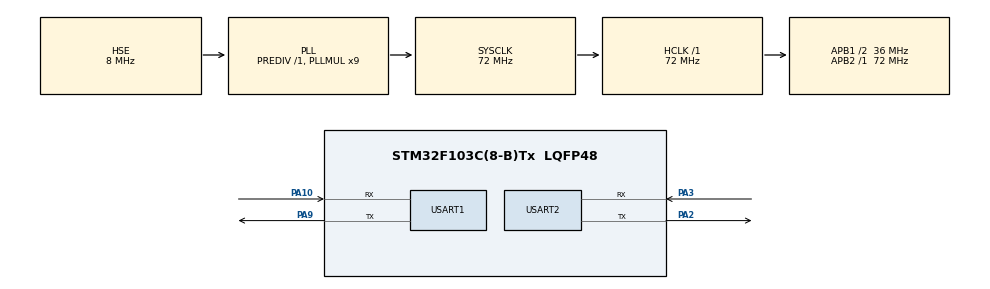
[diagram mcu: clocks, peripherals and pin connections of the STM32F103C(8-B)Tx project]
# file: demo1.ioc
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Mcu.Family=STM32F1
Mcu.Name=STM32F103C(8-B)Tx
Mcu.Package=LQFP48
NVIC.PriorityGroup=NVIC_PRIORITYGROUP_4
NVIC.USART1_IRQn=true\:0\:0\:false\:false\:true\:true\:true\:true
NVIC.USART2_IRQn=true\:0\:0\:false\:false\:true\:true\:true\:true
PA10.Mode=Asynchronous
PA10.Signal=USART1_RX
PA13.Mode=Serial_Wire
PA13.Signal=SYS_JTMS-SWDIO
PA14.Mode=Serial_Wire
PA14.Signal=SYS_JTCK-SWCLK
PA2.Mode=Asynchronous
PA2.Signal=USART2_TX
PA3.Mode=Asynchronous
PA3.Signal=USART2_RX
PA9.Mode=Asynchronous
PA9.Signal=USART1_TX
PD0-OSC_IN.Mode=HSE-External-Oscillator
PD0-OSC_IN.Signal=RCC_OSC_IN
PD1-OSC_OUT.Mode=HSE-External-Oscillator
PD1-OSC_OUT.Signal=RCC_OSC_OUT
ProjectManager.HeapSize=0x200
ProjectManager.StackSize=0x400
ProjectManager.TargetToolchain=MDK-ARM V5.32
RCC.AHBFreq_Value=72000000
RCC.APB1CLKDivider=RCC_HCLK_DIV2
RCC.APB1Freq_Value=36000000
RCC.APB1TimFreq_Value=72000000
RCC.APB2Freq_Value=72000000
RCC.APB2TimFreq_Value=72000000
RCC.HCLKFreq_Value=72000000
RCC.PLLMUL=RCC_PLL_MUL9
RCC.PLLSourceVirtual=RCC_PLLSOURCE_HSE
RCC.SYSCLKFreq_VALUE=72000000
RCC.SYSCLKSource=RCC_SYSCLKSOURCE_PLLCLK
RCC.USBFreq_Value=72000000
TIM4.Prescaler=720-1
USART1.VirtualMode=VM_ASYNC
USART2.VirtualMode=VM_ASYNC
VP_TIM4_VS_ClockSourceINT.Mode=Internal
board=custom

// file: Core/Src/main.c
/* USER CODE BEGIN Header */
/**
  ******************************************************************************
  * @file           : main.c
  * @brief          : Main program body
  ******************************************************************************
  * @attention
  *
  * Copyright (c) 2025 STMicroelectronics.
  * All rights reserved.
  *
  * This software is licensed under terms that can be found in the LICENSE file
  * in the root directory of this software component.
  * If no LICENSE file comes with this software, it is provided AS-IS.
  *
  ******************************************************************************
  */
/* USER CODE END Header */
#include "main.h"
#include "tim.h"
#include "usart.h"
#include "gpio.h"

/* USER CODE BEGIN Includes */
#include "oled.h"
#include "stdio.h"
#include "string.h"

/* USER CODE END Includes */

/* USER CODE BEGIN PD */
#define COUNT_MAX 40
#define ANGLE_MAX 180

 volatile uint8_t flag = 0;
  int count=0;

 int angle=0;
/* USER CODE END PD */

void SystemClock_Config(void);

int main(void)
{

  /* MCU Configuration--------------------------------------------------------*/

  /* Reset of all peripherals, Initializes the Flash interface and the Systick. */
  HAL_Init();

  /* Configure the system clock */
  SystemClock_Config();

  /* Initialize all configured peripherals */
  MX_GPIO_Init();
  MX_TIM4_Init();
  MX_USART2_UART_Init();
  MX_USART1_UART_Init();
  /* USER CODE BEGIN 2 */

  HAL_Delay(20);
  OLED_Init();
  char message[10]="";
  int duty=0;
  HAL_TIM_PWM_Start(&htim4,TIM_CHANNEL_3);
  /* USER CODE END 2 */

  /* Infinite loop */
  /* USER CODE BEGIN WHILE */
  while (1)
  {

  if(HAL_GPIO_ReadPin(GPIOB,GPIO_PIN_12)==GPIO_PIN_RESET)
  {
	  HAL_Delay(10);
	  if(HAL_GPIO_ReadPin(GPIOB,GPIO_PIN_12)==GPIO_PIN_RESET)
	  {
		  count+=1;
		  if(count>COUNT_MAX)
		  {count=0;}
		  while(HAL_GPIO_ReadPin(GPIOB,GPIO_PIN_12)==GPIO_PIN_RESET){};
	  }
  }

    if(HAL_GPIO_ReadPin(GPIOB,GPIO_PIN_13)==GPIO_PIN_RESET)
  {
	  HAL_Delay(10);
	  if(HAL_GPIO_ReadPin(GPIOB,GPIO_PIN_13)==GPIO_PIN_RESET)
	  {
		  count-=1;
		  if(count<0)
		  {count=COUNT_MAX;}
		  while(HAL_GPIO_ReadPin(GPIOB,GPIO_PIN_13)==GPIO_PIN_RESET){};
	  }
  }
   angle=180/(float)COUNT_MAX*count;
   duty=(10*count/(float)COUNT_MAX+2.5)/100.0*2000;
  __HAL_TIM_SET_COMPARE(&htim4,TIM_CHANNEL_3,duty);
    //__HAL_TIM_SET_COMPARE(&htim4,TIM_CHANNEL_3,150);

 OLED_NewFrame();

  sprintf(message,"angle:%d",angle);

  if(angle>120)
  {
	  OLED_PrintString(0,0,"左偏角过大",&font16x16,OLED_COLOR_NORMAL);
	  HAL_GPIO_WritePin(GPIOB,GPIO_PIN_3,GPIO_PIN_SET);
  }
  else if(angle<30)
  {
	  OLED_PrintString(0,0,"右偏角过大",&font16x16,OLED_COLOR_NORMAL);
	  HAL_GPIO_WritePin(GPIOB,GPIO_PIN_3,GPIO_PIN_SET);
  }
   else if(30<=angle&&angle<=120)
  {
	  OLED_PrintString(0,0,"姿态正常",&font16x16,OLED_COLOR_NORMAL);
	  HAL_GPIO_WritePin(GPIOB,GPIO_PIN_3,GPIO_PIN_RESET);
  }

  //OLED_PrintString(0,20,"右偏角过大",&font16x16,OLED_COLOR_NORMAL);
  //OLED_PrintString(0,40,"姿态正常",&font16x16,OLED_COLOR_NORMAL);
   OLED_PrintString(0,20,message,&font16x16,OLED_COLOR_NORMAL);
  OLED_ShowFrame();

    /* USER CODE END WHILE */

  }
}

void SystemClock_Config(void)
{
  RCC_OscInitTypeDef RCC_OscInitStruct = {0};
  RCC_ClkInitTypeDef RCC_ClkInitStruct = {0};

  /** Initializes the RCC Oscillators according to the specified parameters
  * in the RCC_OscInitTypeDef structure.
  */
  RCC_OscInitStruct.OscillatorType = RCC_OSCILLATORTYPE_HSE;
  RCC_OscInitStruct.HSEState = RCC_HSE_ON;
  RCC_OscInitStruct.HSEPredivValue = RCC_HSE_PREDIV_DIV1;
  RCC_OscInitStruct.HSIState = RCC_HSI_ON;
  RCC_OscInitStruct.PLL.PLLState = RCC_PLL_ON;
  RCC_OscInitStruct.PLL.PLLSource = RCC_PLLSOURCE_HSE;
  RCC_OscInitStruct.PLL.PLLMUL = RCC_PLL_MUL9;
  if (HAL_RCC_OscConfig(&RCC_OscInitStruct) != HAL_OK)
  {
    Error_Handler();
  }

  /** Initializes the CPU, AHB and APB buses clocks
  */
  RCC_ClkInitStruct.ClockType = RCC_CLOCKTYPE_HCLK|RCC_CLOCKTYPE_SYSCLK
                              |RCC_CLOCKTYPE_PCLK1|RCC_CLOCKTYPE_PCLK2;
  RCC_ClkInitStruct.SYSCLKSource = RCC_SYSCLKSOURCE_PLLCLK;
  RCC_ClkInitStruct.AHBCLKDivider = RCC_SYSCLK_DIV1;
  RCC_ClkInitStruct.APB1CLKDivider = RCC_HCLK_DIV2;
  RCC_ClkInitStruct.APB2CLKDivider = RCC_HCLK_DIV1;

  if (HAL_RCC_ClockConfig(&RCC_ClkInitStruct, FLASH_LATENCY_2) != HAL_OK)
  {
    Error_Handler();
  }
}

void Error_Handler(void)
{
  __disable_irq();
  while (1)
  {
  }
}
